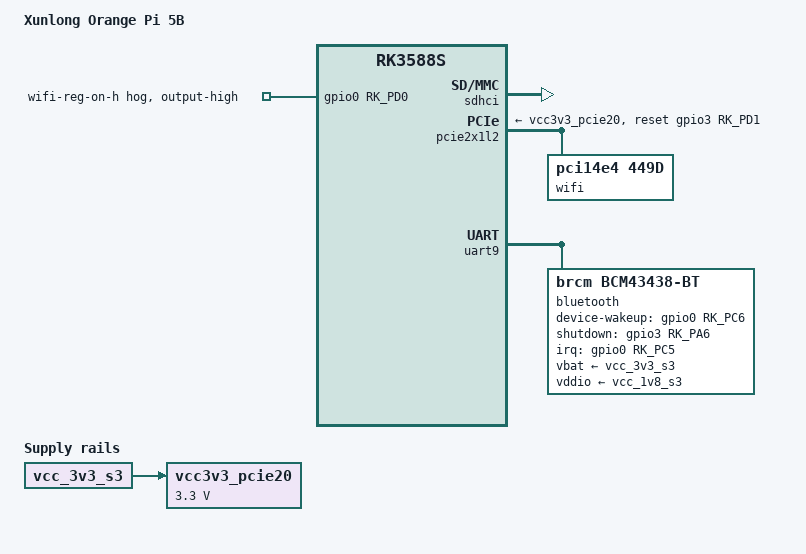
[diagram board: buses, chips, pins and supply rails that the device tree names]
// SPDX-License-Identifier: (GPL-2.0+ OR MIT)

/dts-v1/;

#include "rk3588s-orangepi-5.dtsi"

/ {
	model = "Xunlong Orange Pi 5B";
	compatible = "xunlong,orangepi-5b", "rockchip,rk3588s";

	aliases {
		mmc0 = &sdhci;
		mmc1 = &sdmmc;
	};

	vcc3v3_pcie20: regulator-vcc3v3-pcie20 {
		compatible = "regulator-fixed";
		regulator-name = "vcc3v3_pcie20";
		regulator-boot-on;
		regulator-always-on;
		regulator-min-microvolt = <3300000>;
		regulator-max-microvolt = <3300000>;
		startup-delay-us = <50000>;
		vin-supply = <&vcc_3v3_s3>;
	};
};

&pinctrl {
	wireless-bluetooth {
		bt_reset_pin: bt-reset-pin {
			rockchip,pins = <3 RK_PA6 RK_FUNC_GPIO &pcfg_pull_none>;
		};

		bt_wake_pin: bt-wake-pin {
			rockchip,pins = <0 RK_PC6 RK_FUNC_GPIO &pcfg_pull_up>;
		};

		bt_wake_host_irq: bt-wake-host-irq {
			rockchip,pins = <0 RK_PC5 RK_FUNC_GPIO &pcfg_pull_down>;
		};

	};
};

&sdhci {
	status = "okay";
};

&pcie2x1l2 {
	reset-gpios = <&gpio3 RK_PD1 GPIO_ACTIVE_HIGH>;
	vpcie3v3-supply = <&vcc3v3_pcie20>;
	status = "okay";

	pcie@0,0 {
		reg = <0x400000 0 0 0 0>;
		#address-cells = <3>;
		#size-cells = <2>;
		ranges;
		device_type = "pci";
		bus-range = <0x40 0x4f>;

		wifi: wifi@0,0 {
			compatible = "pci14e4,449d";
			reg = <0x410000 0 0 0 0>;
			clocks = <&hym8563>;
			clock-names = "lpo";
		};
	};
};

&gpio0 {
	wifi-reg-on-h {
		gpio-hog;
		gpios = <RK_PD0 GPIO_ACTIVE_HIGH>;
		output-high;
		line-name = "wifi-reg-on-h";
	};
};

&uart9 {
	pinctrl-names = "default";
	pinctrl-0 = <&uart9m2_xfer &uart9m2_ctsn &uart9m2_rtsn>;
	status = "okay";

	bluetooth {
		compatible = "brcm,bcm43438-bt";
		clocks = <&hym8563>;
		clock-names = "lpo";
		interrupt-parent = <&gpio0>;
		interrupts = <RK_PC5 IRQ_TYPE_LEVEL_HIGH>;
		interrupt-names = "host-wakeup";
		device-wakeup-gpios = <&gpio0 RK_PC6 GPIO_ACTIVE_HIGH>;
		shutdown-gpios = <&gpio3 RK_PA6 GPIO_ACTIVE_HIGH>;
		max-speed = <1500000>;
		pinctrl-names = "default";
		pinctrl-0 = <&bt_wake_host_irq &bt_wake_pin &bt_reset_pin>;
		vbat-supply = <&vcc_3v3_s3>;
		vddio-supply = <&vcc_1v8_s3>;
	};
};

